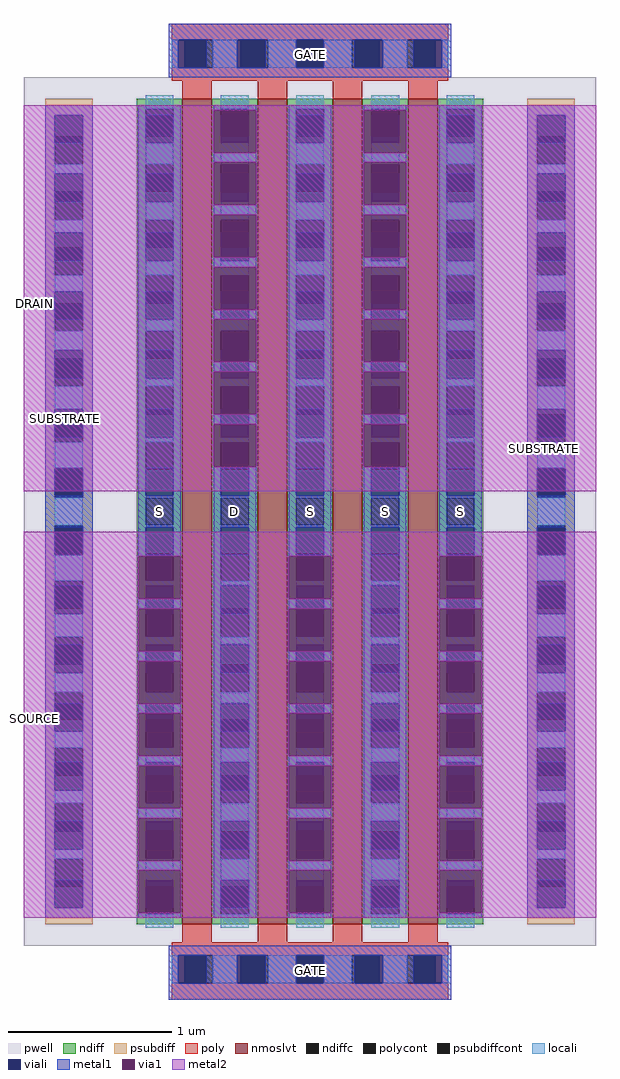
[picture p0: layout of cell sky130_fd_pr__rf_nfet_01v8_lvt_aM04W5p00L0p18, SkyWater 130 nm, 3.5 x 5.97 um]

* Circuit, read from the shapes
.subckt sky130_fd_pr__rf_nfet_01v8_lvt_aM04W5p00L0p18 DRAIN GATE SOURCE SUBSTRATE
XM1 DRAIN GATE SOURCE SUBSTRATE sky130_fd_pr__nfet_01v8_lvt w=5.05 l=0.18 m=4
.ends

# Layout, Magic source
magic
tech sky130A
magscale 1 2
<< pwell >>
rect 0 66 700 1128
<< nmoslvt >>
rect 194 92 230 1102
rect 286 92 322 1102
rect 378 92 414 1102
rect 470 92 506 1102
<< ndiff >>
rect 138 1090 194 1102
rect 138 1056 149 1090
rect 183 1056 194 1090
rect 138 1022 194 1056
rect 138 988 149 1022
rect 183 988 194 1022
rect 138 954 194 988
rect 138 920 149 954
rect 183 920 194 954
rect 138 886 194 920
rect 138 852 149 886
rect 183 852 194 886
rect 138 818 194 852
rect 138 784 149 818
rect 183 784 194 818
rect 138 750 194 784
rect 138 716 149 750
rect 183 716 194 750
rect 138 682 194 716
rect 138 648 149 682
rect 183 648 194 682
rect 138 614 194 648
rect 138 580 149 614
rect 183 580 194 614
rect 138 546 194 580
rect 138 512 149 546
rect 183 512 194 546
rect 138 478 194 512
rect 138 444 149 478
rect 183 444 194 478
rect 138 410 194 444
rect 138 376 149 410
rect 183 376 194 410
rect 138 342 194 376
rect 138 308 149 342
rect 183 308 194 342
rect 138 274 194 308
rect 138 240 149 274
rect 183 240 194 274
rect 138 206 194 240
rect 138 172 149 206
rect 183 172 194 206
rect 138 138 194 172
rect 138 104 149 138
rect 183 104 194 138
rect 138 92 194 104
rect 230 1090 286 1102
rect 230 1056 241 1090
rect 275 1056 286 1090
rect 230 1022 286 1056
rect 230 988 241 1022
rect 275 988 286 1022
rect 230 954 286 988
rect 230 920 241 954
rect 275 920 286 954
rect 230 886 286 920
rect 230 852 241 886
rect 275 852 286 886
rect 230 818 286 852
rect 230 784 241 818
rect 275 784 286 818
rect 230 750 286 784
rect 230 716 241 750
rect 275 716 286 750
rect 230 682 286 716
rect 230 648 241 682
rect 275 648 286 682
rect 230 614 286 648
rect 230 580 241 614
rect 275 580 286 614
rect 230 546 286 580
rect 230 512 241 546
rect 275 512 286 546
rect 230 478 286 512
rect 230 444 241 478
rect 275 444 286 478
rect 230 410 286 444
rect 230 376 241 410
rect 275 376 286 410
rect 230 342 286 376
rect 230 308 241 342
rect 275 308 286 342
rect 230 274 286 308
rect 230 240 241 274
rect 275 240 286 274
rect 230 206 286 240
rect 230 172 241 206
rect 275 172 286 206
rect 230 138 286 172
rect 230 104 241 138
rect 275 104 286 138
rect 230 92 286 104
rect 322 1090 378 1102
rect 322 1056 333 1090
rect 367 1056 378 1090
rect 322 1022 378 1056
rect 322 988 333 1022
rect 367 988 378 1022
rect 322 954 378 988
rect 322 920 333 954
rect 367 920 378 954
rect 322 886 378 920
rect 322 852 333 886
rect 367 852 378 886
rect 322 818 378 852
rect 322 784 333 818
rect 367 784 378 818
rect 322 750 378 784
rect 322 716 333 750
rect 367 716 378 750
rect 322 682 378 716
rect 322 648 333 682
rect 367 648 378 682
rect 322 614 378 648
rect 322 580 333 614
rect 367 580 378 614
rect 322 546 378 580
rect 322 512 333 546
rect 367 512 378 546
rect 322 478 378 512
rect 322 444 333 478
rect 367 444 378 478
rect 322 410 378 444
rect 322 376 333 410
rect 367 376 378 410
rect 322 342 378 376
rect 322 308 333 342
rect 367 308 378 342
rect 322 274 378 308
rect 322 240 333 274
rect 367 240 378 274
rect 322 206 378 240
rect 322 172 333 206
rect 367 172 378 206
rect 322 138 378 172
rect 322 104 333 138
rect 367 104 378 138
rect 322 92 378 104
rect 414 1090 470 1102
rect 414 1056 425 1090
rect 459 1056 470 1090
rect 414 1022 470 1056
rect 414 988 425 1022
rect 459 988 470 1022
rect 414 954 470 988
rect 414 920 425 954
rect 459 920 470 954
rect 414 886 470 920
rect 414 852 425 886
rect 459 852 470 886
rect 414 818 470 852
rect 414 784 425 818
rect 459 784 470 818
rect 414 750 470 784
rect 414 716 425 750
rect 459 716 470 750
rect 414 682 470 716
rect 414 648 425 682
rect 459 648 470 682
rect 414 614 470 648
rect 414 580 425 614
rect 459 580 470 614
rect 414 546 470 580
rect 414 512 425 546
rect 459 512 470 546
rect 414 478 470 512
rect 414 444 425 478
rect 459 444 470 478
rect 414 410 470 444
rect 414 376 425 410
rect 459 376 470 410
rect 414 342 470 376
rect 414 308 425 342
rect 459 308 470 342
rect 414 274 470 308
rect 414 240 425 274
rect 459 240 470 274
rect 414 206 470 240
rect 414 172 425 206
rect 459 172 470 206
rect 414 138 470 172
rect 414 104 425 138
rect 459 104 470 138
rect 414 92 470 104
rect 506 1090 562 1102
rect 506 1056 517 1090
rect 551 1056 562 1090
rect 506 1022 562 1056
rect 506 988 517 1022
rect 551 988 562 1022
rect 506 954 562 988
rect 506 920 517 954
rect 551 920 562 954
rect 506 886 562 920
rect 506 852 517 886
rect 551 852 562 886
rect 506 818 562 852
rect 506 784 517 818
rect 551 784 562 818
rect 506 750 562 784
rect 506 716 517 750
rect 551 716 562 750
rect 506 682 562 716
rect 506 648 517 682
rect 551 648 562 682
rect 506 614 562 648
rect 506 580 517 614
rect 551 580 562 614
rect 506 546 562 580
rect 506 512 517 546
rect 551 512 562 546
rect 506 478 562 512
rect 506 444 517 478
rect 551 444 562 478
rect 506 410 562 444
rect 506 376 517 410
rect 551 376 562 410
rect 506 342 562 376
rect 506 308 517 342
rect 551 308 562 342
rect 506 274 562 308
rect 506 240 517 274
rect 551 240 562 274
rect 506 206 562 240
rect 506 172 517 206
rect 551 172 562 206
rect 506 138 562 172
rect 506 104 517 138
rect 551 104 562 138
rect 506 92 562 104
<< ndiffc >>
rect 149 1056 183 1090
rect 149 988 183 1022
rect 149 920 183 954
rect 149 852 183 886
rect 149 784 183 818
rect 149 716 183 750
rect 149 648 183 682
rect 149 580 183 614
rect 149 512 183 546
rect 149 444 183 478
rect 149 376 183 410
rect 149 308 183 342
rect 149 240 183 274
rect 149 172 183 206
rect 149 104 183 138
rect 241 1056 275 1090
rect 241 988 275 1022
rect 241 920 275 954
rect 241 852 275 886
rect 241 784 275 818
rect 241 716 275 750
rect 241 648 275 682
rect 241 580 275 614
rect 241 512 275 546
rect 241 444 275 478
rect 241 376 275 410
rect 241 308 275 342
rect 241 240 275 274
rect 241 172 275 206
rect 241 104 275 138
rect 333 1056 367 1090
rect 333 988 367 1022
rect 333 920 367 954
rect 333 852 367 886
rect 333 784 367 818
rect 333 716 367 750
rect 333 648 367 682
rect 333 580 367 614
rect 333 512 367 546
rect 333 444 367 478
rect 333 376 367 410
rect 333 308 367 342
rect 333 240 367 274
rect 333 172 367 206
rect 333 104 367 138
rect 425 1056 459 1090
rect 425 988 459 1022
rect 425 920 459 954
rect 425 852 459 886
rect 425 784 459 818
rect 425 716 459 750
rect 425 648 459 682
rect 425 580 459 614
rect 425 512 459 546
rect 425 444 459 478
rect 425 376 459 410
rect 425 308 459 342
rect 425 240 459 274
rect 425 172 459 206
rect 425 104 459 138
rect 517 1056 551 1090
rect 517 988 551 1022
rect 517 920 551 954
rect 517 852 551 886
rect 517 784 551 818
rect 517 716 551 750
rect 517 648 551 682
rect 517 580 551 614
rect 517 512 551 546
rect 517 444 551 478
rect 517 376 551 410
rect 517 308 551 342
rect 517 240 551 274
rect 517 172 551 206
rect 517 104 551 138
<< psubdiff >>
rect 26 1056 84 1102
rect 26 1022 38 1056
rect 72 1022 84 1056
rect 26 988 84 1022
rect 26 954 38 988
rect 72 954 84 988
rect 26 920 84 954
rect 26 886 38 920
rect 72 886 84 920
rect 26 852 84 886
rect 26 818 38 852
rect 72 818 84 852
rect 26 784 84 818
rect 26 750 38 784
rect 72 750 84 784
rect 26 716 84 750
rect 26 682 38 716
rect 72 682 84 716
rect 26 648 84 682
rect 26 614 38 648
rect 72 614 84 648
rect 26 580 84 614
rect 26 546 38 580
rect 72 546 84 580
rect 26 512 84 546
rect 26 478 38 512
rect 72 478 84 512
rect 26 444 84 478
rect 26 410 38 444
rect 72 410 84 444
rect 26 376 84 410
rect 26 342 38 376
rect 72 342 84 376
rect 26 308 84 342
rect 26 274 38 308
rect 72 274 84 308
rect 26 240 84 274
rect 26 206 38 240
rect 72 206 84 240
rect 26 172 84 206
rect 26 138 38 172
rect 72 138 84 172
rect 26 92 84 138
rect 616 1056 674 1102
rect 616 1022 628 1056
rect 662 1022 674 1056
rect 616 988 674 1022
rect 616 954 628 988
rect 662 954 674 988
rect 616 920 674 954
rect 616 886 628 920
rect 662 886 674 920
rect 616 852 674 886
rect 616 818 628 852
rect 662 818 674 852
rect 616 784 674 818
rect 616 750 628 784
rect 662 750 674 784
rect 616 716 674 750
rect 616 682 628 716
rect 662 682 674 716
rect 616 648 674 682
rect 616 614 628 648
rect 662 614 674 648
rect 616 580 674 614
rect 616 546 628 580
rect 662 546 674 580
rect 616 512 674 546
rect 616 478 628 512
rect 662 478 674 512
rect 616 444 674 478
rect 616 410 628 444
rect 662 410 674 444
rect 616 376 674 410
rect 616 342 628 376
rect 662 342 674 376
rect 616 308 674 342
rect 616 274 628 308
rect 662 274 674 308
rect 616 240 674 274
rect 616 206 628 240
rect 662 206 674 240
rect 616 172 674 206
rect 616 138 628 172
rect 662 138 674 172
rect 616 92 674 138
<< psubdiffcont >>
rect 38 1022 72 1056
rect 38 954 72 988
rect 38 886 72 920
rect 38 818 72 852
rect 38 750 72 784
rect 38 682 72 716
rect 38 614 72 648
rect 38 546 72 580
rect 38 478 72 512
rect 38 410 72 444
rect 38 342 72 376
rect 38 274 72 308
rect 38 206 72 240
rect 38 138 72 172
rect 628 1022 662 1056
rect 628 954 662 988
rect 628 886 662 920
rect 628 818 662 852
rect 628 750 662 784
rect 628 682 662 716
rect 628 614 662 648
rect 628 546 662 580
rect 628 478 662 512
rect 628 410 662 444
rect 628 342 662 376
rect 628 274 662 308
rect 628 206 662 240
rect 628 138 662 172
<< poly >>
rect 181 1174 519 1194
rect 181 1140 197 1174
rect 231 1140 265 1174
rect 299 1140 333 1174
rect 367 1140 401 1174
rect 435 1140 469 1174
rect 503 1140 519 1174
rect 181 1124 519 1140
rect 194 1102 230 1124
rect 286 1102 322 1124
rect 378 1102 414 1124
rect 470 1102 506 1124
rect 194 70 230 92
rect 286 70 322 92
rect 378 70 414 92
rect 470 70 506 92
rect 181 54 519 70
rect 181 20 197 54
rect 231 20 265 54
rect 299 20 333 54
rect 367 20 401 54
rect 435 20 469 54
rect 503 20 519 54
rect 181 0 519 20
<< polycont >>
rect 197 1140 231 1174
rect 265 1140 299 1174
rect 333 1140 367 1174
rect 401 1140 435 1174
rect 469 1140 503 1174
rect 197 20 231 54
rect 265 20 299 54
rect 333 20 367 54
rect 401 20 435 54
rect 469 20 503 54
<< locali >>
rect 181 1140 189 1174
rect 231 1140 261 1174
rect 299 1140 333 1174
rect 367 1140 401 1174
rect 439 1140 469 1174
rect 511 1140 519 1174
rect 149 1090 183 1106
rect 38 1010 72 1022
rect 38 938 72 954
rect 38 866 72 886
rect 38 794 72 818
rect 38 722 72 750
rect 38 650 72 682
rect 38 580 72 614
rect 38 512 72 544
rect 38 444 72 472
rect 38 376 72 400
rect 38 308 72 328
rect 38 240 72 256
rect 38 172 72 184
rect 149 1022 183 1048
rect 149 954 183 976
rect 149 886 183 904
rect 149 818 183 832
rect 149 750 183 760
rect 149 682 183 688
rect 149 614 183 616
rect 149 578 183 580
rect 149 506 183 512
rect 149 434 183 444
rect 149 362 183 376
rect 149 290 183 308
rect 149 218 183 240
rect 149 146 183 172
rect 149 88 183 104
rect 241 1090 275 1106
rect 241 1022 275 1048
rect 241 954 275 976
rect 241 886 275 904
rect 241 818 275 832
rect 241 750 275 760
rect 241 682 275 688
rect 241 614 275 616
rect 241 578 275 580
rect 241 506 275 512
rect 241 434 275 444
rect 241 362 275 376
rect 241 290 275 308
rect 241 218 275 240
rect 241 146 275 172
rect 241 88 275 104
rect 333 1090 367 1106
rect 333 1022 367 1048
rect 333 954 367 976
rect 333 886 367 904
rect 333 818 367 832
rect 333 750 367 760
rect 333 682 367 688
rect 333 614 367 616
rect 333 578 367 580
rect 333 506 367 512
rect 333 434 367 444
rect 333 362 367 376
rect 333 290 367 308
rect 333 218 367 240
rect 333 146 367 172
rect 333 88 367 104
rect 425 1090 459 1106
rect 425 1022 459 1048
rect 425 954 459 976
rect 425 886 459 904
rect 425 818 459 832
rect 425 750 459 760
rect 425 682 459 688
rect 425 614 459 616
rect 425 578 459 580
rect 425 506 459 512
rect 425 434 459 444
rect 425 362 459 376
rect 425 290 459 308
rect 425 218 459 240
rect 425 146 459 172
rect 425 88 459 104
rect 517 1090 551 1106
rect 517 1022 551 1048
rect 517 954 551 976
rect 517 886 551 904
rect 517 818 551 832
rect 517 750 551 760
rect 517 682 551 688
rect 517 614 551 616
rect 517 578 551 580
rect 517 506 551 512
rect 517 434 551 444
rect 517 362 551 376
rect 517 290 551 308
rect 517 218 551 240
rect 517 146 551 172
rect 628 1010 662 1022
rect 628 938 662 954
rect 628 866 662 886
rect 628 794 662 818
rect 628 722 662 750
rect 628 650 662 682
rect 628 580 662 614
rect 628 512 662 544
rect 628 444 662 472
rect 628 376 662 400
rect 628 308 662 328
rect 628 240 662 256
rect 628 172 662 184
rect 517 88 551 104
rect 181 20 189 54
rect 231 20 261 54
rect 299 20 333 54
rect 367 20 401 54
rect 439 20 469 54
rect 511 20 519 54
<< viali >>
rect 189 1140 197 1174
rect 197 1140 223 1174
rect 261 1140 265 1174
rect 265 1140 295 1174
rect 333 1140 367 1174
rect 405 1140 435 1174
rect 435 1140 439 1174
rect 477 1140 503 1174
rect 503 1140 511 1174
rect 38 1056 72 1082
rect 38 1048 72 1056
rect 38 988 72 1010
rect 38 976 72 988
rect 38 920 72 938
rect 38 904 72 920
rect 38 852 72 866
rect 38 832 72 852
rect 38 784 72 794
rect 38 760 72 784
rect 38 716 72 722
rect 38 688 72 716
rect 38 648 72 650
rect 38 616 72 648
rect 38 546 72 578
rect 38 544 72 546
rect 38 478 72 506
rect 38 472 72 478
rect 38 410 72 434
rect 38 400 72 410
rect 38 342 72 362
rect 38 328 72 342
rect 38 274 72 290
rect 38 256 72 274
rect 38 206 72 218
rect 38 184 72 206
rect 38 138 72 146
rect 38 112 72 138
rect 149 1056 183 1082
rect 149 1048 183 1056
rect 149 988 183 1010
rect 149 976 183 988
rect 149 920 183 938
rect 149 904 183 920
rect 149 852 183 866
rect 149 832 183 852
rect 149 784 183 794
rect 149 760 183 784
rect 149 716 183 722
rect 149 688 183 716
rect 149 648 183 650
rect 149 616 183 648
rect 149 546 183 578
rect 149 544 183 546
rect 149 478 183 506
rect 149 472 183 478
rect 149 410 183 434
rect 149 400 183 410
rect 149 342 183 362
rect 149 328 183 342
rect 149 274 183 290
rect 149 256 183 274
rect 149 206 183 218
rect 149 184 183 206
rect 149 138 183 146
rect 149 112 183 138
rect 241 1056 275 1082
rect 241 1048 275 1056
rect 241 988 275 1010
rect 241 976 275 988
rect 241 920 275 938
rect 241 904 275 920
rect 241 852 275 866
rect 241 832 275 852
rect 241 784 275 794
rect 241 760 275 784
rect 241 716 275 722
rect 241 688 275 716
rect 241 648 275 650
rect 241 616 275 648
rect 241 546 275 578
rect 241 544 275 546
rect 241 478 275 506
rect 241 472 275 478
rect 241 410 275 434
rect 241 400 275 410
rect 241 342 275 362
rect 241 328 275 342
rect 241 274 275 290
rect 241 256 275 274
rect 241 206 275 218
rect 241 184 275 206
rect 241 138 275 146
rect 241 112 275 138
rect 333 1056 367 1082
rect 333 1048 367 1056
rect 333 988 367 1010
rect 333 976 367 988
rect 333 920 367 938
rect 333 904 367 920
rect 333 852 367 866
rect 333 832 367 852
rect 333 784 367 794
rect 333 760 367 784
rect 333 716 367 722
rect 333 688 367 716
rect 333 648 367 650
rect 333 616 367 648
rect 333 546 367 578
rect 333 544 367 546
rect 333 478 367 506
rect 333 472 367 478
rect 333 410 367 434
rect 333 400 367 410
rect 333 342 367 362
rect 333 328 367 342
rect 333 274 367 290
rect 333 256 367 274
rect 333 206 367 218
rect 333 184 367 206
rect 333 138 367 146
rect 333 112 367 138
rect 425 1056 459 1082
rect 425 1048 459 1056
rect 425 988 459 1010
rect 425 976 459 988
rect 425 920 459 938
rect 425 904 459 920
rect 425 852 459 866
rect 425 832 459 852
rect 425 784 459 794
rect 425 760 459 784
rect 425 716 459 722
rect 425 688 459 716
rect 425 648 459 650
rect 425 616 459 648
rect 425 546 459 578
rect 425 544 459 546
rect 425 478 459 506
rect 425 472 459 478
rect 425 410 459 434
rect 425 400 459 410
rect 425 342 459 362
rect 425 328 459 342
rect 425 274 459 290
rect 425 256 459 274
rect 425 206 459 218
rect 425 184 459 206
rect 425 138 459 146
rect 425 112 459 138
rect 517 1056 551 1082
rect 517 1048 551 1056
rect 517 988 551 1010
rect 517 976 551 988
rect 517 920 551 938
rect 517 904 551 920
rect 517 852 551 866
rect 517 832 551 852
rect 517 784 551 794
rect 517 760 551 784
rect 517 716 551 722
rect 517 688 551 716
rect 517 648 551 650
rect 517 616 551 648
rect 517 546 551 578
rect 517 544 551 546
rect 517 478 551 506
rect 517 472 551 478
rect 517 410 551 434
rect 517 400 551 410
rect 517 342 551 362
rect 517 328 551 342
rect 517 274 551 290
rect 517 256 551 274
rect 517 206 551 218
rect 517 184 551 206
rect 517 138 551 146
rect 517 112 551 138
rect 628 1056 662 1082
rect 628 1048 662 1056
rect 628 988 662 1010
rect 628 976 662 988
rect 628 920 662 938
rect 628 904 662 920
rect 628 852 662 866
rect 628 832 662 852
rect 628 784 662 794
rect 628 760 662 784
rect 628 716 662 722
rect 628 688 662 716
rect 628 648 662 650
rect 628 616 662 648
rect 628 546 662 578
rect 628 544 662 546
rect 628 478 662 506
rect 628 472 662 478
rect 628 410 662 434
rect 628 400 662 410
rect 628 342 662 362
rect 628 328 662 342
rect 628 274 662 290
rect 628 256 662 274
rect 628 206 662 218
rect 628 184 662 206
rect 628 138 662 146
rect 628 112 662 138
rect 189 20 197 54
rect 197 20 223 54
rect 261 20 265 54
rect 265 20 295 54
rect 333 20 367 54
rect 405 20 435 54
rect 435 20 439 54
rect 477 20 503 54
rect 503 20 511 54
<< metal1 >>
rect 177 1174 523 1194
rect 177 1140 189 1174
rect 223 1140 261 1174
rect 295 1140 333 1174
rect 367 1140 405 1174
rect 439 1140 477 1174
rect 511 1140 523 1174
rect 177 1128 523 1140
rect 26 1082 84 1094
rect 26 1048 38 1082
rect 72 1048 84 1082
rect 26 1010 84 1048
rect 26 976 38 1010
rect 72 976 84 1010
rect 26 938 84 976
rect 26 904 38 938
rect 72 904 84 938
rect 26 866 84 904
rect 26 832 38 866
rect 72 832 84 866
rect 26 794 84 832
rect 26 760 38 794
rect 72 760 84 794
rect 26 722 84 760
rect 26 688 38 722
rect 72 688 84 722
rect 26 650 84 688
rect 26 616 38 650
rect 72 616 84 650
rect 26 578 84 616
rect 26 544 38 578
rect 72 544 84 578
rect 26 506 84 544
rect 26 472 38 506
rect 72 472 84 506
rect 26 434 84 472
rect 26 400 38 434
rect 72 400 84 434
rect 26 362 84 400
rect 26 328 38 362
rect 72 328 84 362
rect 26 290 84 328
rect 26 256 38 290
rect 72 256 84 290
rect 26 218 84 256
rect 26 184 38 218
rect 72 184 84 218
rect 26 146 84 184
rect 26 112 38 146
rect 72 112 84 146
rect 26 100 84 112
rect 140 1082 192 1094
rect 140 1048 149 1082
rect 183 1048 192 1082
rect 140 1010 192 1048
rect 140 976 149 1010
rect 183 976 192 1010
rect 140 938 192 976
rect 140 904 149 938
rect 183 904 192 938
rect 140 866 192 904
rect 140 832 149 866
rect 183 832 192 866
rect 140 794 192 832
rect 140 760 149 794
rect 183 760 192 794
rect 140 722 192 760
rect 140 688 149 722
rect 183 688 192 722
rect 140 650 192 688
rect 140 616 149 650
rect 183 616 192 650
rect 140 578 192 616
rect 140 544 149 578
rect 183 544 192 578
rect 140 542 192 544
rect 140 478 149 490
rect 183 478 192 490
rect 140 414 149 426
rect 183 414 192 426
rect 140 350 149 362
rect 183 350 192 362
rect 140 290 192 298
rect 140 286 149 290
rect 183 286 192 290
rect 140 222 192 234
rect 140 158 192 170
rect 140 100 192 106
rect 232 1088 284 1094
rect 232 1024 284 1036
rect 232 960 284 972
rect 232 904 241 908
rect 275 904 284 908
rect 232 896 284 904
rect 232 832 241 844
rect 275 832 284 844
rect 232 768 241 780
rect 275 768 284 780
rect 232 704 241 716
rect 275 704 284 716
rect 232 650 284 652
rect 232 616 241 650
rect 275 616 284 650
rect 232 578 284 616
rect 232 544 241 578
rect 275 544 284 578
rect 232 506 284 544
rect 232 472 241 506
rect 275 472 284 506
rect 232 434 284 472
rect 232 400 241 434
rect 275 400 284 434
rect 232 362 284 400
rect 232 328 241 362
rect 275 328 284 362
rect 232 290 284 328
rect 232 256 241 290
rect 275 256 284 290
rect 232 218 284 256
rect 232 184 241 218
rect 275 184 284 218
rect 232 146 284 184
rect 232 112 241 146
rect 275 112 284 146
rect 232 100 284 112
rect 324 1082 376 1094
rect 324 1048 333 1082
rect 367 1048 376 1082
rect 324 1010 376 1048
rect 324 976 333 1010
rect 367 976 376 1010
rect 324 938 376 976
rect 324 904 333 938
rect 367 904 376 938
rect 324 866 376 904
rect 324 832 333 866
rect 367 832 376 866
rect 324 794 376 832
rect 324 760 333 794
rect 367 760 376 794
rect 324 722 376 760
rect 324 688 333 722
rect 367 688 376 722
rect 324 650 376 688
rect 324 616 333 650
rect 367 616 376 650
rect 324 578 376 616
rect 324 544 333 578
rect 367 544 376 578
rect 324 542 376 544
rect 324 478 333 490
rect 367 478 376 490
rect 324 414 333 426
rect 367 414 376 426
rect 324 350 333 362
rect 367 350 376 362
rect 324 290 376 298
rect 324 286 333 290
rect 367 286 376 290
rect 324 222 376 234
rect 324 158 376 170
rect 324 100 376 106
rect 416 1088 468 1094
rect 416 1024 468 1036
rect 416 960 468 972
rect 416 904 425 908
rect 459 904 468 908
rect 416 896 468 904
rect 416 832 425 844
rect 459 832 468 844
rect 416 768 425 780
rect 459 768 468 780
rect 416 704 425 716
rect 459 704 468 716
rect 416 650 468 652
rect 416 616 425 650
rect 459 616 468 650
rect 416 578 468 616
rect 416 544 425 578
rect 459 544 468 578
rect 416 506 468 544
rect 416 472 425 506
rect 459 472 468 506
rect 416 434 468 472
rect 416 400 425 434
rect 459 400 468 434
rect 416 362 468 400
rect 416 328 425 362
rect 459 328 468 362
rect 416 290 468 328
rect 416 256 425 290
rect 459 256 468 290
rect 416 218 468 256
rect 416 184 425 218
rect 459 184 468 218
rect 416 146 468 184
rect 416 112 425 146
rect 459 112 468 146
rect 416 100 468 112
rect 508 1082 560 1094
rect 508 1048 517 1082
rect 551 1048 560 1082
rect 508 1010 560 1048
rect 508 976 517 1010
rect 551 976 560 1010
rect 508 938 560 976
rect 508 904 517 938
rect 551 904 560 938
rect 508 866 560 904
rect 508 832 517 866
rect 551 832 560 866
rect 508 794 560 832
rect 508 760 517 794
rect 551 760 560 794
rect 508 722 560 760
rect 508 688 517 722
rect 551 688 560 722
rect 508 650 560 688
rect 508 616 517 650
rect 551 616 560 650
rect 508 578 560 616
rect 508 544 517 578
rect 551 544 560 578
rect 508 542 560 544
rect 508 478 517 490
rect 551 478 560 490
rect 508 414 517 426
rect 551 414 560 426
rect 508 350 517 362
rect 551 350 560 362
rect 508 290 560 298
rect 508 286 517 290
rect 551 286 560 290
rect 508 222 560 234
rect 508 158 560 170
rect 508 100 560 106
rect 616 1082 674 1094
rect 616 1048 628 1082
rect 662 1048 674 1082
rect 616 1010 674 1048
rect 616 976 628 1010
rect 662 976 674 1010
rect 616 938 674 976
rect 616 904 628 938
rect 662 904 674 938
rect 616 866 674 904
rect 616 832 628 866
rect 662 832 674 866
rect 616 794 674 832
rect 616 760 628 794
rect 662 760 674 794
rect 616 722 674 760
rect 616 688 628 722
rect 662 688 674 722
rect 616 650 674 688
rect 616 616 628 650
rect 662 616 674 650
rect 616 578 674 616
rect 616 544 628 578
rect 662 544 674 578
rect 616 506 674 544
rect 616 472 628 506
rect 662 472 674 506
rect 616 434 674 472
rect 616 400 628 434
rect 662 400 674 434
rect 616 362 674 400
rect 616 328 628 362
rect 662 328 674 362
rect 616 290 674 328
rect 616 256 628 290
rect 662 256 674 290
rect 616 218 674 256
rect 616 184 628 218
rect 662 184 674 218
rect 616 146 674 184
rect 616 112 628 146
rect 662 112 674 146
rect 616 100 674 112
rect 177 54 523 66
rect 177 20 189 54
rect 223 20 261 54
rect 295 20 333 54
rect 367 20 405 54
rect 439 20 477 54
rect 511 20 523 54
rect 177 0 523 20
<< via1 >>
rect 140 506 192 542
rect 140 490 149 506
rect 149 490 183 506
rect 183 490 192 506
rect 140 472 149 478
rect 149 472 183 478
rect 183 472 192 478
rect 140 434 192 472
rect 140 426 149 434
rect 149 426 183 434
rect 183 426 192 434
rect 140 400 149 414
rect 149 400 183 414
rect 183 400 192 414
rect 140 362 192 400
rect 140 328 149 350
rect 149 328 183 350
rect 183 328 192 350
rect 140 298 192 328
rect 140 256 149 286
rect 149 256 183 286
rect 183 256 192 286
rect 140 234 192 256
rect 140 218 192 222
rect 140 184 149 218
rect 149 184 183 218
rect 183 184 192 218
rect 140 170 192 184
rect 140 146 192 158
rect 140 112 149 146
rect 149 112 183 146
rect 183 112 192 146
rect 140 106 192 112
rect 232 1082 284 1088
rect 232 1048 241 1082
rect 241 1048 275 1082
rect 275 1048 284 1082
rect 232 1036 284 1048
rect 232 1010 284 1024
rect 232 976 241 1010
rect 241 976 275 1010
rect 275 976 284 1010
rect 232 972 284 976
rect 232 938 284 960
rect 232 908 241 938
rect 241 908 275 938
rect 275 908 284 938
rect 232 866 284 896
rect 232 844 241 866
rect 241 844 275 866
rect 275 844 284 866
rect 232 794 284 832
rect 232 780 241 794
rect 241 780 275 794
rect 275 780 284 794
rect 232 760 241 768
rect 241 760 275 768
rect 275 760 284 768
rect 232 722 284 760
rect 232 716 241 722
rect 241 716 275 722
rect 275 716 284 722
rect 232 688 241 704
rect 241 688 275 704
rect 275 688 284 704
rect 232 652 284 688
rect 324 506 376 542
rect 324 490 333 506
rect 333 490 367 506
rect 367 490 376 506
rect 324 472 333 478
rect 333 472 367 478
rect 367 472 376 478
rect 324 434 376 472
rect 324 426 333 434
rect 333 426 367 434
rect 367 426 376 434
rect 324 400 333 414
rect 333 400 367 414
rect 367 400 376 414
rect 324 362 376 400
rect 324 328 333 350
rect 333 328 367 350
rect 367 328 376 350
rect 324 298 376 328
rect 324 256 333 286
rect 333 256 367 286
rect 367 256 376 286
rect 324 234 376 256
rect 324 218 376 222
rect 324 184 333 218
rect 333 184 367 218
rect 367 184 376 218
rect 324 170 376 184
rect 324 146 376 158
rect 324 112 333 146
rect 333 112 367 146
rect 367 112 376 146
rect 324 106 376 112
rect 416 1082 468 1088
rect 416 1048 425 1082
rect 425 1048 459 1082
rect 459 1048 468 1082
rect 416 1036 468 1048
rect 416 1010 468 1024
rect 416 976 425 1010
rect 425 976 459 1010
rect 459 976 468 1010
rect 416 972 468 976
rect 416 938 468 960
rect 416 908 425 938
rect 425 908 459 938
rect 459 908 468 938
rect 416 866 468 896
rect 416 844 425 866
rect 425 844 459 866
rect 459 844 468 866
rect 416 794 468 832
rect 416 780 425 794
rect 425 780 459 794
rect 459 780 468 794
rect 416 760 425 768
rect 425 760 459 768
rect 459 760 468 768
rect 416 722 468 760
rect 416 716 425 722
rect 425 716 459 722
rect 459 716 468 722
rect 416 688 425 704
rect 425 688 459 704
rect 459 688 468 704
rect 416 652 468 688
rect 508 506 560 542
rect 508 490 517 506
rect 517 490 551 506
rect 551 490 560 506
rect 508 472 517 478
rect 517 472 551 478
rect 551 472 560 478
rect 508 434 560 472
rect 508 426 517 434
rect 517 426 551 434
rect 551 426 560 434
rect 508 400 517 414
rect 517 400 551 414
rect 551 400 560 414
rect 508 362 560 400
rect 508 328 517 350
rect 517 328 551 350
rect 551 328 560 350
rect 508 298 560 328
rect 508 256 517 286
rect 517 256 551 286
rect 551 256 560 286
rect 508 234 560 256
rect 508 218 560 222
rect 508 184 517 218
rect 517 184 551 218
rect 551 184 560 218
rect 508 170 560 184
rect 508 146 560 158
rect 508 112 517 146
rect 517 112 551 146
rect 551 112 560 146
rect 508 106 560 112
<< metal2 >>
rect 0 1088 700 1094
rect 0 1036 232 1088
rect 284 1036 416 1088
rect 468 1036 700 1088
rect 0 1024 700 1036
rect 0 972 232 1024
rect 284 972 416 1024
rect 468 972 700 1024
rect 0 960 700 972
rect 0 908 232 960
rect 284 908 416 960
rect 468 908 700 960
rect 0 896 700 908
rect 0 844 232 896
rect 284 844 416 896
rect 468 844 700 896
rect 0 832 700 844
rect 0 780 232 832
rect 284 780 416 832
rect 468 780 700 832
rect 0 768 700 780
rect 0 716 232 768
rect 284 716 416 768
rect 468 716 700 768
rect 0 704 700 716
rect 0 652 232 704
rect 284 652 416 704
rect 468 652 700 704
rect 0 622 700 652
rect 0 542 700 572
rect 0 490 140 542
rect 192 490 324 542
rect 376 490 508 542
rect 560 490 700 542
rect 0 478 700 490
rect 0 426 140 478
rect 192 426 324 478
rect 376 426 508 478
rect 560 426 700 478
rect 0 414 700 426
rect 0 362 140 414
rect 192 362 324 414
rect 376 362 508 414
rect 560 362 700 414
rect 0 350 700 362
rect 0 298 140 350
rect 192 298 324 350
rect 376 298 508 350
rect 560 298 700 350
rect 0 286 700 298
rect 0 234 140 286
rect 192 234 324 286
rect 376 234 508 286
rect 560 234 700 286
rect 0 222 700 234
rect 0 170 140 222
rect 192 170 324 222
rect 376 170 508 222
rect 560 170 700 222
rect 0 158 700 170
rect 0 106 140 158
rect 192 106 324 158
rect 376 106 508 158
rect 560 106 700 158
rect 0 100 700 106
<< labels >>
flabel comment s 350 597 350 597 0 FreeSans 300 0 0 0 S
flabel comment s 350 597 350 597 0 FreeSans 300 0 0 0 S
flabel comment s 442 597 442 597 0 FreeSans 300 0 0 0 S
flabel comment s 442 597 442 597 0 FreeSans 300 0 0 0 D
flabel comment s 534 597 534 597 0 FreeSans 300 0 0 0 S
flabel comment s 166 597 166 597 0 FreeSans 300 0 0 0 S
flabel comment s 166 597 166 597 0 FreeSans 300 0 0 0 S
flabel comment s 258 597 258 597 0 FreeSans 300 0 0 0 D
flabel comment s 258 597 258 597 0 FreeSans 300 0 0 0 S
flabel metal1 s 637 674 637 674 7 FreeSans 300 90 0 0 SUBSTRATE
port 4 nsew
flabel metal1 s 309 23 391 48 0 FreeSans 300 0 0 0 GATE
port 2 nsew
flabel metal1 s 310 1144 392 1169 0 FreeSans 300 0 0 0 GATE
port 2 nsew
flabel metal1 s 51 711 51 711 7 FreeSans 300 90 0 0 SUBSTRATE
port 4 nsew
flabel metal2 s 4 817 22 887 0 FreeSans 300 90 0 0 DRAIN
port 1 nsew
flabel metal2 s 3 312 23 376 0 FreeSans 300 90 0 0 SOURCE
port 3 nsew
<< properties >>
string GDS_FILE $PDKPATH/libs.ref/sky130_fd_pr/gds/sky130_fd_pr.gds
string GDS_END 6149770
string GDS_START 6127680
<< end >>
